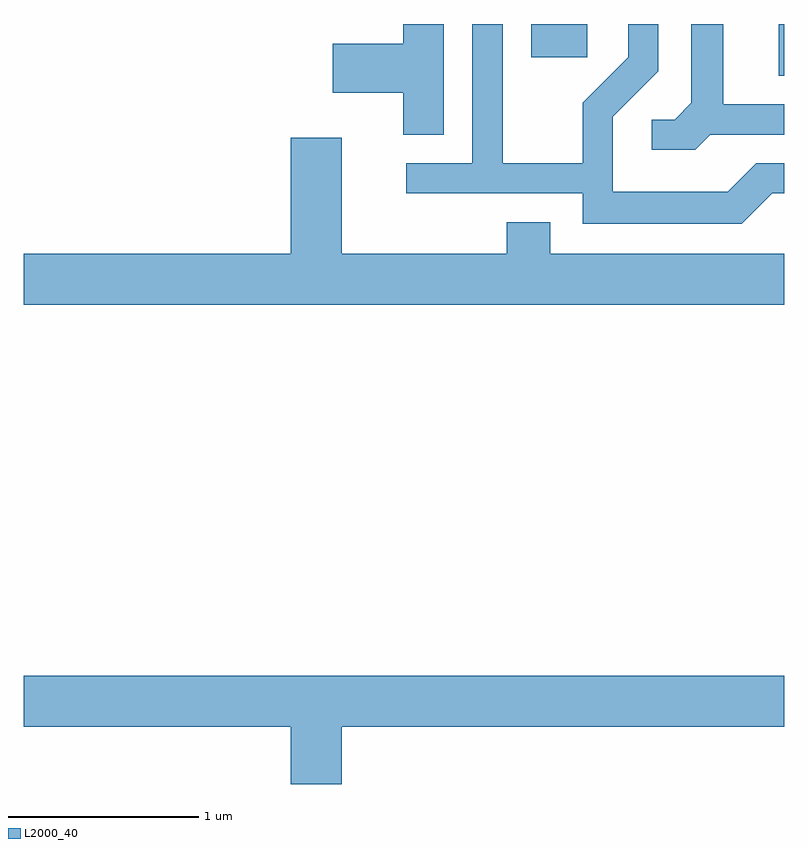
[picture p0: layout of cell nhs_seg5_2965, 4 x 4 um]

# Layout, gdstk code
import gdstk
lib = gdstk.Library(unit=1e-6, precision=1e-09)
def R(c, l, rs):  # rectangles x0, y0, x1, y1
    for r in rs: c.add(gdstk.rectangle(r[:2], r[2:], *l))
def P(c, l, *ps):  # polygons
    for p in ps: c.add(gdstk.Polygon(p, *l))
L2000_40 = (2000, 40)

nhs_seg5_2965 = lib.new_cell('nhs_seg5_2965')
R(nhs_seg5_2965, L2000_40, [(277.581,1435.801,277.611,1436.072), (276.281,1435.896,276.574,1436.072)])
P(nhs_seg5_2965, L2000_40, [(277.547,1435.181),(277.611,1435.181),(277.611,1435.339),(277.464,1435.339),(277.314,1435.189),(276.709,1435.189),(276.709,1435.584),(276.949,1435.824),(276.949,1436.072),(276.791,1436.072),(276.791,1435.897),(276.551,1435.657),(276.551,1435.339),(276.129,1435.339),(276.129,1436.072),(275.971,1436.072),(275.971,1435.339),(275.623,1435.339),(275.623,1435.181),(276.551,1435.181),(276.551,1435.021),(277.387,1435.021)],
  [(275.819,1436.072),(275.606,1436.072),(275.606,1435.969),(275.236,1435.969),(275.236,1435.711),(275.606,1435.711),(275.606,1435.491),(275.819,1435.491)],
  [(277.222,1435.491),(277.611,1435.491),(277.611,1435.649),(277.289,1435.649),(277.289,1436.072),(277.121,1436.072),(277.121,1435.657),(277.034,1435.569),(276.913,1435.569),(276.913,1435.411),(277.142,1435.411)],
  [(277.611,1434.864),(276.379,1434.864),(276.379,1435.029),(276.151,1435.029),(276.151,1434.864),(275.284,1434.864),(275.284,1435.474),(275.016,1435.474),(275.016,1434.864),(273.611,1434.864),(273.611,1434.596),(277.611,1434.596)],
  [(275.284,1432.376),(277.611,1432.376),(277.611,1432.644),(273.611,1432.644),(273.611,1432.376),(275.016,1432.376),(275.016,1432.076),(275.284,1432.076)])

lib.write_gds('nhs_seg5_2965.gds')
